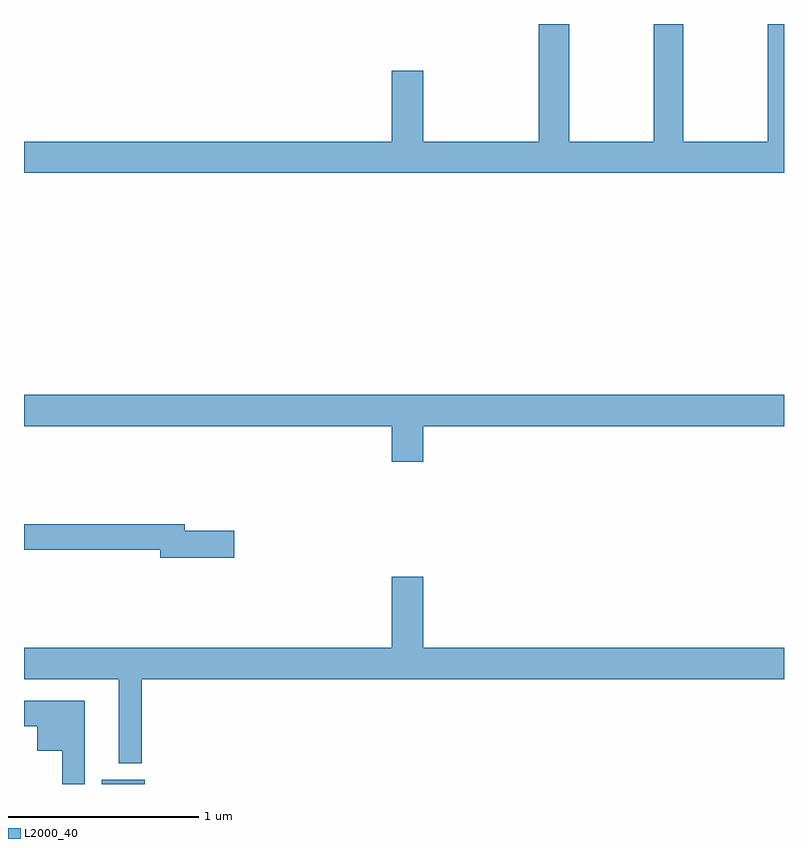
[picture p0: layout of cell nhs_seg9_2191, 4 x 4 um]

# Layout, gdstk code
import gdstk
lib = gdstk.Library(unit=1e-6, precision=1e-09)
def R(c, l, rs):  # rectangles x0, y0, x1, y1
    for r in rs: c.add(gdstk.rectangle(r[:2], r[2:], *l))
def P(c, l, *ps):  # polygons
    for p in ps: c.add(gdstk.Polygon(p, *l))
L2000_40 = (2000, 40)

nhs_seg9_2191 = lib.new_cell('nhs_seg9_2191')
R(nhs_seg9_2191, L2000_40, [(235.409,1230.5,235.636,1230.523)])
P(nhs_seg9_2191, L2000_40, [(239,1234.5),(238.915,1234.5),(238.915,1233.88),(238.47,1233.88),(238.47,1234.5),(238.315,1234.5),(238.315,1233.88),(237.87,1233.88),(237.87,1234.5),(237.71,1234.5),(237.71,1233.88),(237.1,1233.88),(237.1,1234.255),(236.936,1234.255),(236.936,1233.88),(235,1233.88),(235,1233.716),(239,1233.716)],
  [(237.1,1232.384),(239,1232.384),(239,1232.548),(235,1232.548),(235,1232.384),(236.936,1232.384),(236.936,1232.196),(237.1,1232.196)],
  [(236.107,1231.832),(235.846,1231.832),(235.846,1231.868),(235,1231.868),(235,1231.732),(235.718,1231.732),(235.718,1231.69),(236.107,1231.69)],
  [(235.621,1231.052),(239,1231.052),(239,1231.216),(237.1,1231.216),(237.1,1231.591),(236.936,1231.591),(236.936,1231.216),(235,1231.216),(235,1231.052),(235.499,1231.052),(235.499,1230.608),(235.621,1230.608)],
  [(235.321,1230.937),(235,1230.937),(235,1230.803),(235.07,1230.803),(235.07,1230.674),(235.2,1230.674),(235.2,1230.5),(235.321,1230.5)])

lib.write_gds('nhs_seg9_2191.gds')
